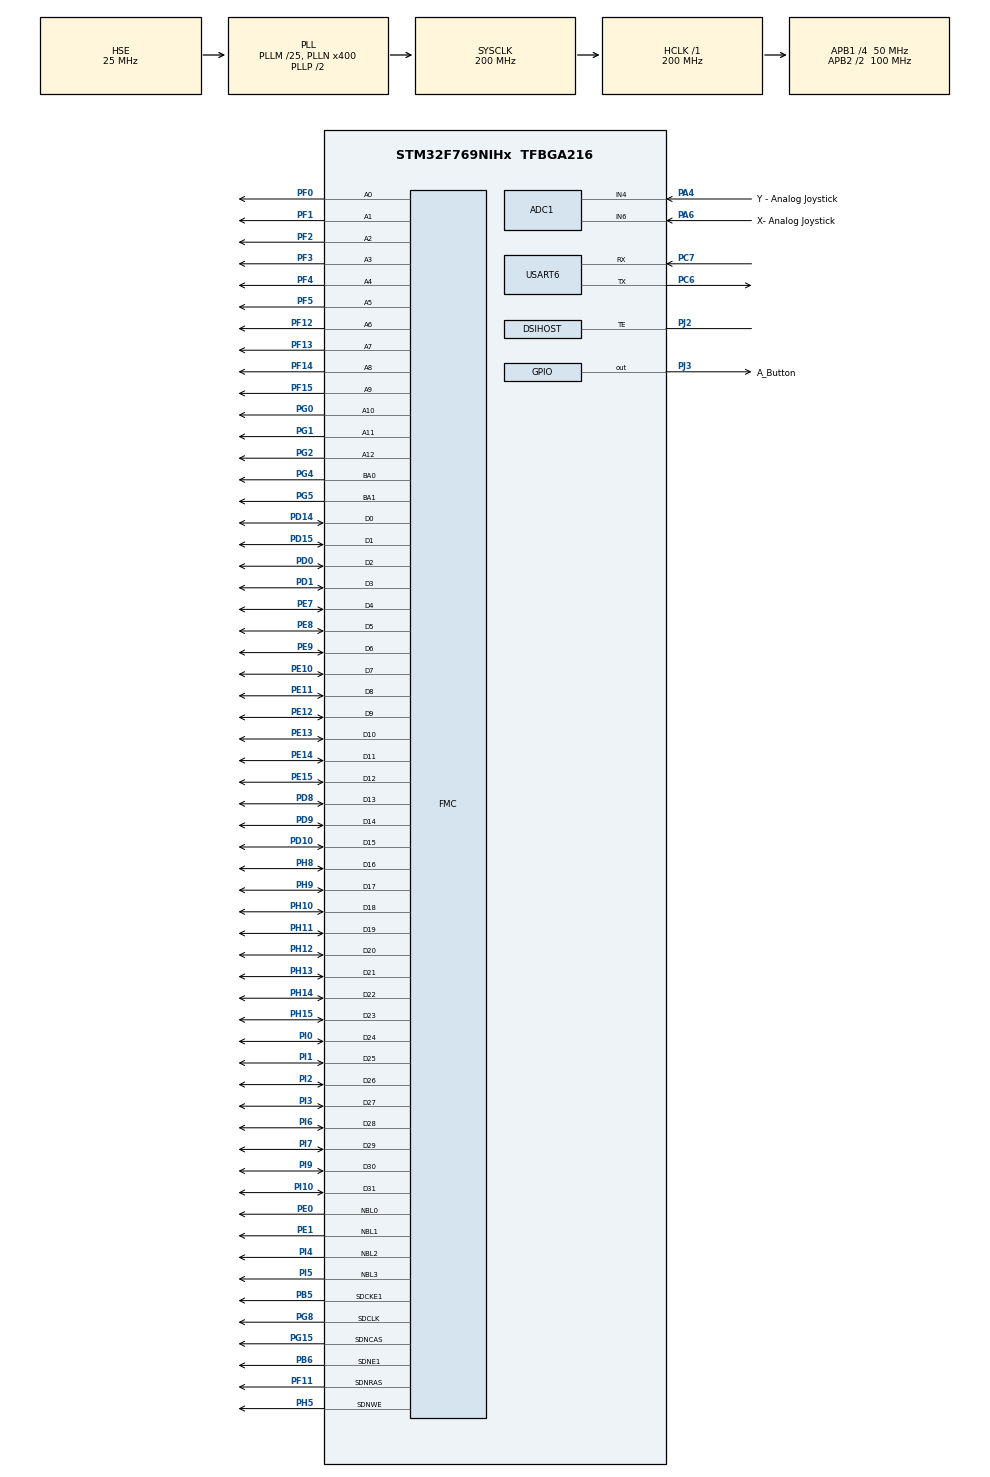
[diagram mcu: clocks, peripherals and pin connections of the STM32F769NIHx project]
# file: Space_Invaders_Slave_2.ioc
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ADC1.Channel-1\#ChannelRegularConversion=ADC_CHANNEL_4
ADC1.Channel-7\#ChannelInjectedConversion=ADC_CHANNEL_4
ADC1.ContinuousConvMode=ENABLE
ADC1.DMAContinuousRequests=ENABLE
ADC1.DiscontinuousConvMode=DISABLE
ADC1.EOCSelection=ADC_EOC_SINGLE_CONV
ADC1.InjNumberOfConversion=1
ADC1.InjectedConvMode=None
ADC1.InjectedOffset-7\#ChannelInjectedConversion=0
ADC1.InjectedRank-7\#ChannelInjectedConversion=1
ADC1.NbrOfConversion=1
ADC1.NbrOfConversionFlag=1
ADC1.Rank-1\#ChannelRegularConversion=1
ADC1.SamplingTime-1\#ChannelRegularConversion=ADC_SAMPLETIME_56CYCLES
ADC1.SamplingTime-7\#ChannelInjectedConversion=ADC_SAMPLETIME_56CYCLES
ADC1.master=1
CORTEX_M7.CPU_DCache=Enabled
CORTEX_M7.CPU_ICache=Enabled
DSIHOST_CKN.Mode=DSIHost_Adapted_TE
DSIHOST_CKN.Signal=DSIHOST_CKN
DSIHOST_CKP.Mode=DSIHost_Adapted_TE
DSIHOST_CKP.Signal=DSIHOST_CKP
DSIHOST_D0N.Mode=DSIHost_Adapted_TE
DSIHOST_D0N.Signal=DSIHOST_D0N
DSIHOST_D0P.Mode=DSIHost_Adapted_TE
DSIHOST_D0P.Signal=DSIHOST_D0P
DSIHOST_D1N.Mode=DSIHost_Adapted_TE
DSIHOST_D1N.Signal=DSIHOST_D1N
DSIHOST_D1P.Mode=DSIHost_Adapted_TE
DSIHOST_D1P.Signal=DSIHOST_D1P
Dma.ADC1.0.Direction=DMA_PERIPH_TO_MEMORY
Dma.ADC1.0.FIFOMode=DMA_FIFOMODE_DISABLE
Dma.ADC1.0.Instance=DMA2_Stream4
Dma.ADC1.0.MemDataAlignment=DMA_MDATAALIGN_WORD
Dma.ADC1.0.MemInc=DMA_MINC_ENABLE
Dma.ADC1.0.Mode=DMA_CIRCULAR
Dma.ADC1.0.PeriphDataAlignment=DMA_PDATAALIGN_WORD
Dma.ADC1.0.PeriphInc=DMA_PINC_DISABLE
Dma.ADC1.0.Priority=DMA_PRIORITY_LOW
Dma.Request0=ADC1
Dma.Request1=USART6_TX
Dma.Request2=USART6_RX
Dma.USART6_RX.2.Direction=DMA_PERIPH_TO_MEMORY
Dma.USART6_RX.2.FIFOMode=DMA_FIFOMODE_DISABLE
Dma.USART6_RX.2.Instance=DMA2_Stream1
Dma.USART6_RX.2.MemDataAlignment=DMA_MDATAALIGN_BYTE
Dma.USART6_RX.2.MemInc=DMA_MINC_ENABLE
Dma.USART6_RX.2.Mode=DMA_CIRCULAR
Dma.USART6_RX.2.PeriphDataAlignment=DMA_PDATAALIGN_BYTE
Dma.USART6_RX.2.PeriphInc=DMA_PINC_DISABLE
Dma.USART6_RX.2.Priority=DMA_PRIORITY_LOW
Dma.USART6_TX.1.Direction=DMA_MEMORY_TO_PERIPH
Dma.USART6_TX.1.FIFOMode=DMA_FIFOMODE_DISABLE
Dma.USART6_TX.1.Instance=DMA2_Stream6
Dma.USART6_TX.1.MemDataAlignment=DMA_MDATAALIGN_BYTE
Dma.USART6_TX.1.MemInc=DMA_MINC_ENABLE
Dma.USART6_TX.1.Mode=DMA_CIRCULAR
Dma.USART6_TX.1.PeriphDataAlignment=DMA_PDATAALIGN_BYTE
Dma.USART6_TX.1.PeriphInc=DMA_PINC_DISABLE
Dma.USART6_TX.1.Priority=DMA_PRIORITY_LOW
FREERTOS.INCLUDE_vTaskDelayUntil=1
FREERTOS.Tasks01=IdleTask,-3,128,StartIdleTask,Default,NULL,Dynamic,NULL,NULL
Mcu.Family=STM32F7
Mcu.Name=STM32F769NIHx
Mcu.Package=TFBGA216
NVIC.DMA2_Stream1_IRQn=true\:5\:0\:false\:false\:true\:true\:false\:true
NVIC.DMA2_Stream4_IRQn=true\:5\:0\:false\:false\:true\:true\:false\:true
NVIC.DMA2_Stream6_IRQn=true\:5\:0\:false\:false\:true\:true\:false\:true
NVIC.PriorityGroup=NVIC_PRIORITYGROUP_4
NVIC.TIM7_IRQn=true\:0\:0\:false\:false\:true\:false\:false\:true
NVIC.TimeBase=TIM7_IRQn
NVIC.TimeBaseIP=TIM7
NVIC.USART6_IRQn=true\:5\:0\:false\:false\:true\:true\:true\:true
PA4.GPIO_Label=Y - Analog Joystick 
PA4.Signal=ADCx_IN4
PA6.GPIO_Label=X- Analog Joystick 
PA6.Signal=ADCx_IN6
PB5.Mode=SdramChipSelect2_1
PB5.Signal=FMC_SDCKE1
PB6.Mode=SdramChipSelect2_1
PB6.Signal=FMC_SDNE1
PC6.GPIO_Speed=GPIO_SPEED_FREQ_VERY_HIGH
PC6.Mode=Asynchronous
PC6.Signal=USART6_TX
PC7.Mode=Asynchronous
PC7.Signal=USART6_RX
PD0.Signal=FMC_D2_DA2
PD1.Signal=FMC_D3_DA3
PD10.Signal=FMC_D15_DA15
PD14.Signal=FMC_D0_DA0
PD15.Signal=FMC_D1_DA1
PD8.Signal=FMC_D13_DA13
PD9.Signal=FMC_D14_DA14
PE0.Signal=FMC_NBL0
PE1.Signal=FMC_NBL1
PE10.Signal=FMC_D7_DA7
PE11.Signal=FMC_D8_DA8
PE12.Signal=FMC_D9_DA9
PE13.Signal=FMC_D10_DA10
PE14.Signal=FMC_D11_DA11
PE15.Signal=FMC_D12_DA12
PE7.Signal=FMC_D4_DA4
PE8.Signal=FMC_D5_DA5
PE9.Signal=FMC_D6_DA6
PF0.Signal=FMC_A0
PF1.Signal=FMC_A1
PF11.Signal=FMC_SDNRAS
PF12.Signal=FMC_A6
PF13.Signal=FMC_A7
PF14.Signal=FMC_A8
PF15.Signal=FMC_A9
PF2.Signal=FMC_A2
PF3.Signal=FMC_A3
PF4.Signal=FMC_A4
PF5.Signal=FMC_A5
PG0.Signal=FMC_A10
PG1.Signal=FMC_A11
PG15.Signal=FMC_SDNCAS
PG2.Signal=FMC_A12
PG4.Signal=FMC_A14_BA0
PG5.Signal=FMC_A15_BA1
PG8.Signal=FMC_SDCLK
PH0/OSC_IN.Mode=HSE-External-Oscillator
PH0/OSC_IN.Signal=RCC_OSC_IN
PH1/OSC_OUT.Mode=HSE-External-Oscillator
PH1/OSC_OUT.Signal=RCC_OSC_OUT
PH10.Signal=FMC_D18
PH11.Signal=FMC_D19
PH12.Signal=FMC_D20
PH13.Signal=FMC_D21
PH14.Signal=FMC_D22
PH15.Signal=FMC_D23
PH5.Signal=FMC_SDNWE
PH8.Signal=FMC_D16
PH9.Signal=FMC_D17
PI0.Signal=FMC_D24
PI1.Signal=FMC_D25
PI10.Signal=FMC_D31
PI2.Signal=FMC_D26
PI3.Signal=FMC_D27
PI4.Signal=FMC_NBL2
PI5.Signal=FMC_NBL3
PI6.Signal=FMC_D28
PI7.Signal=FMC_D29
PI9.Signal=FMC_D30
PJ2.Mode=DSIHost_Adapted_TE
PJ2.Signal=DSIHOST_TE
PJ3.GPIO_Label=A_Button
PJ3.Signal=GPIO_Output
ProjectManager.HeapSize=0x200
ProjectManager.StackSize=0x400
ProjectManager.TargetToolchain=STM32CubeIDE
RCC.AHBFreq_Value=200000000
RCC.APB1CLKDivider=RCC_HCLK_DIV4
RCC.APB1Freq_Value=50000000
RCC.APB1TimFreq_Value=100000000
RCC.APB2CLKDivider=RCC_HCLK_DIV2
RCC.APB2Freq_Value=100000000
RCC.APB2TimFreq_Value=200000000
RCC.CortexFreq_Value=200000000
RCC.HCLKFreq_Value=200000000
RCC.HSE_VALUE=25000000
RCC.HSI_VALUE=16000000
RCC.LSE_VALUE=32768
RCC.PLLI2SN=96
RCC.PLLM=25
RCC.PLLN=400
RCC.PLLR=7
RCC.PLLSourceVirtual=RCC_PLLSOURCE_HSE
RCC.SYSCLKFreq_VALUE=200000000
RCC.SYSCLKSource=RCC_SYSCLKSOURCE_PLLCLK
RCC.USBFreq_Value=200000000
RCC.VCOOutputFreq_Value=400000000
SH.ADCx_IN4.0=ADC1_IN4,IN4
SH.ADCx_IN6.0=ADC1_IN6,IN6
SH.FMC_A0.0=FMC_A0,13b-sda1
SH.FMC_A1.0=FMC_A1,13b-sda1
SH.FMC_A10.0=FMC_A10,13b-sda1
SH.FMC_A11.0=FMC_A11,13b-sda1
SH.FMC_A12.0=FMC_A12,13b-sda1
SH.FMC_A14_BA0.0=FMC_BA0,FourSdramBanks1
SH.FMC_A15_BA1.0=FMC_BA1,FourSdramBanks1
SH.FMC_A2.0=FMC_A2,13b-sda1
SH.FMC_A3.0=FMC_A3,13b-sda1
SH.FMC_A4.0=FMC_A4,13b-sda1
SH.FMC_A5.0=FMC_A5,13b-sda1
SH.FMC_A6.0=FMC_A6,13b-sda1
SH.FMC_A7.0=FMC_A7,13b-sda1
SH.FMC_A8.0=FMC_A8,13b-sda1
SH.FMC_A9.0=FMC_A9,13b-sda1
SH.FMC_D0_DA0.0=FMC_D0,sd-32b-d1
SH.FMC_D10_DA10.0=FMC_D10,sd-32b-d1
SH.FMC_D11_DA11.0=FMC_D11,sd-32b-d1
SH.FMC_D12_DA12.0=FMC_D12,sd-32b-d1
SH.FMC_D13_DA13.0=FMC_D13,sd-32b-d1
SH.FMC_D14_DA14.0=FMC_D14,sd-32b-d1
SH.FMC_D15_DA15.0=FMC_D15,sd-32b-d1
SH.FMC_D16.0=FMC_D16,sd-32b-d1
SH.FMC_D17.0=FMC_D17,sd-32b-d1
SH.FMC_D18.0=FMC_D18,sd-32b-d1
SH.FMC_D19.0=FMC_D19,sd-32b-d1
SH.FMC_D1_DA1.0=FMC_D1,sd-32b-d1
SH.FMC_D20.0=FMC_D20,sd-32b-d1
SH.FMC_D21.0=FMC_D21,sd-32b-d1
SH.FMC_D22.0=FMC_D22,sd-32b-d1
SH.FMC_D23.0=FMC_D23,sd-32b-d1
SH.FMC_D24.0=FMC_D24,sd-32b-d1
SH.FMC_D25.0=FMC_D25,sd-32b-d1
SH.FMC_D26.0=FMC_D26,sd-32b-d1
SH.FMC_D27.0=FMC_D27,sd-32b-d1
SH.FMC_D28.0=FMC_D28,sd-32b-d1
SH.FMC_D29.0=FMC_D29,sd-32b-d1
SH.FMC_D2_DA2.0=FMC_D2,sd-32b-d1
SH.FMC_D30.0=FMC_D30,sd-32b-d1
SH.FMC_D31.0=FMC_D31,sd-32b-d1
SH.FMC_D3_DA3.0=FMC_D3,sd-32b-d1
SH.FMC_D4_DA4.0=FMC_D4,sd-32b-d1
SH.FMC_D5_DA5.0=FMC_D5,sd-32b-d1
SH.FMC_D6_DA6.0=FMC_D6,sd-32b-d1
SH.FMC_D7_DA7.0=FMC_D7,sd-32b-d1
SH.FMC_D8_DA8.0=FMC_D8,sd-32b-d1
SH.FMC_D9_DA9.0=FMC_D9,sd-32b-d1
SH.FMC_NBL0.0=FMC_NBL0,Sd4ByteEnable1
SH.FMC_NBL1.0=FMC_NBL1,Sd4ByteEnable1
SH.FMC_NBL2.0=FMC_NBL2,Sd4ByteEnable1
SH.FMC_NBL3.0=FMC_NBL3,Sd4ByteEnable1
SH.FMC_SDCLK.0=FMC_SDCLK,13b-sda1
SH.FMC_SDNCAS.0=FMC_SDNCAS,13b-sda1
SH.FMC_SDNRAS.0=FMC_SDNRAS,13b-sda1
SH.FMC_SDNWE.0=FMC_SDNWE,13b-sda1
USART6.DMADisableonRxErrorParam=ADVFEATURE_DMA_DISABLEONRXERROR
USART6.OverrunDisableParam=ADVFEATURE_OVERRUN_DISABLE
USART6.VirtualMode-Asynchronous=VM_ASYNC
VP_DMA2D_VS_DMA2D.Mode=DMA2D_Activate
VP_FREERTOS_VS_CMSIS_V1.Mode=CMSIS_V1
VP_LTDC_DSIMode.Mode=RGB888
VP_SYS_VS_tim7.Mode=TIM7
board=STM32F769I-DISCO

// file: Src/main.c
/* USER CODE BEGIN Header */
/**
  ******************************************************************************
  * @file           : main.c
  * @brief          : Main program body
  ******************************************************************************
  * @attention
  *
  * <h2><center>&copy; Copyright (c) 2019 STMicroelectronics.
  * All rights reserved.</center></h2>
  *
  * This software component is licensed by ST under BSD 3-Clause license,
  * the "License"; You may not use this file except in compliance with the
  * License. You may obtain a copy of the License at:
  *                        opensource.org/licenses/BSD-3-Clause
  *
  ******************************************************************************
  */
/* USER CODE END Header */

#include "main.h"
#include "cmsis_os.h"

/* USER CODE BEGIN Includes */
#include "stm32f769i_discovery.h"
#include "stm32f769i_discovery_lcd.h"
#include <stdio.h>
#include <stdbool.h>
#include "bmp_lib.h"
/* USER CODE END Includes */

/* USER CODE BEGIN PTD */

typedef enum id {
	X_AXIS,
	A_BUTTON
}Id;

typedef struct joystick {
	Id id;
	uint8_t val;

}Joystick;

typedef enum status {
	OFF,
	DESTROYED,
	SHOT,
	LIVE
}Status;

typedef struct invader {
	Status status;
	uint16_t x;
	uint16_t y;
}Invader;

/* USER CODE END PTD */

ADC_HandleTypeDef hadc1;
DMA_HandleTypeDef hdma_adc1;

DMA2D_HandleTypeDef hdma2d;

DSI_HandleTypeDef hdsi;

LTDC_HandleTypeDef hltdc;

UART_HandleTypeDef huart6;
DMA_HandleTypeDef hdma_usart6_tx;
DMA_HandleTypeDef hdma_usart6_rx;

SDRAM_HandleTypeDef hsdram1;

osThreadId IdleTaskHandle;
/* USER CODE BEGIN PV */

uint8_t data2send[4];
uint8_t data2receive[200];
bool flag_half_tx_DMA = false;
bool flag_tx_DMA = false;
bool flag_half_rx_DMA = false;
bool flag_rx_DMA = false;
volatile uint8_t toggle = 0;
uint16_t x_master = 300;
uint16_t y_master = 460;
uint16_t x_laser;
uint16_t y_laser;

const uint8_t x_unit_px = 6;
const uint8_t y_unit_px = 20;
Invader invader[11][5];
bool flag_endgame = true;

char x[100];
char a[100];
char y[100];

/* USER CODE END PV */

void SystemClock_Config(void);
static void MX_GPIO_Init(void);
static void MX_DMA_Init(void);
static void MX_DMA2D_Init(void);
static void MX_FMC_Init(void);
static void MX_LTDC_Init(void);
static void MX_DSIHOST_DSI_Init(void);
static void MX_ADC1_Init(void);
static void MX_USART6_UART_Init(void);
void StartIdleTask(void const * argument);

/* USER CODE BEGIN PFP */
static void LCD_Config(void);
void get_x_joystick_ADC  (void* parameters);
void get_button_joystick_PIN (void * parameters);
void send_master_UART(void * parameters);
void receive_master_UART(void * parameters);

/* USER CODE END PFP */

/* USER CODE BEGIN 0 */
xQueueHandle xQueue_joy_master;
xQueueHandle xQueue_joy_slave;
xQueueHandle xQueue_joy_slave_1;
xQueueHandle xQueue_joy_slave_2;
//xQueueHandle xQueue_a_joy_slave;

/* USER CODE END 0 */

int main(void)
{

  /* Enable I-Cache---------------------------------------------------------*/
  SCB_EnableICache();

  /* Enable D-Cache---------------------------------------------------------*/
  SCB_EnableDCache();

  /* MCU Configuration--------------------------------------------------------*/

  /* Reset of all peripherals, Initializes the Flash interface and the Systick. */
  HAL_Init();

  /* Configure the system clock */
  SystemClock_Config();

  /* Initialize all configured peripherals */
  MX_GPIO_Init();
  MX_DMA_Init();
  MX_DMA2D_Init();
  MX_FMC_Init();
  MX_LTDC_Init();
  MX_DSIHOST_DSI_Init();
  MX_ADC1_Init();
  MX_USART6_UART_Init();
  /* USER CODE BEGIN 2 */

  BSP_LED_Init(LED1);
  BSP_LED_Init(LED2);
//  BSP_PB_Init(BUTTON_USER, BUTTON_MODE_GPIO);

  LCD_Config();

  /* USER CODE END 2 */

  /* USER CODE BEGIN RTOS_QUEUES */
  /* add queues, ... */
  xQueue_joy_slave = xQueueCreate(10, sizeof(Joystick));
  xQueue_joy_slave_1 = xQueueCreate(10, sizeof(Joystick));
  xQueue_joy_slave_2  = xQueueCreate(10, sizeof(Joystick));
  /* USER CODE END RTOS_QUEUES */

  /* Create the thread(s) */
  /* definition and creation of IdleTask */
  osThreadDef(IdleTask, StartIdleTask, osPriorityIdle, 0, 128);
  IdleTaskHandle = osThreadCreate(osThread(IdleTask), NULL);

  /* USER CODE BEGIN RTOS_THREADS */
  /* add threads, ... */
  //if (xQueue_joy_slave != NULL) {
	  xTaskCreate(get_x_joystick_ADC, "Get X-joystick ADC", 400, NULL, tskIDLE_PRIORITY + 2, NULL);
	  xTaskCreate(get_button_joystick_PIN, "Get A-joystick", 400, NULL, tskIDLE_PRIORITY + 2, NULL);
	  xTaskCreate(send_master_UART, "UART send X-joystick", 400, NULL, tskIDLE_PRIORITY + 2, NULL);
	  xTaskCreate(receive_master_UART, "UART send X-joystick", 400, NULL, tskIDLE_PRIORITY + 2, NULL);

//	  xTaskCreate(cannon_slave_rcv, "cannon_slave_rcv", 400, NULL, tskIDLE_PRIORITY + 2, NULL);
//	  xTaskCreate(invaders_sdr, "cannon_slave_rcv", 1000, NULL, tskIDLE_PRIORITY + 2, NULL);

  /* USER CODE END RTOS_THREADS */

  /* Start scheduler */
  osKernelStart();

  /* We should never get here as control is now taken by the scheduler */

  /* Infinite loop */
  /* USER CODE BEGIN WHILE */
  //}

  while (1)
  {

	  //send_master();
	  //receive_master();

    /* USER CODE END WHILE */

  }
}

void SystemClock_Config(void)
{
  RCC_OscInitTypeDef RCC_OscInitStruct = {0};
  RCC_ClkInitTypeDef RCC_ClkInitStruct = {0};
  RCC_PeriphCLKInitTypeDef PeriphClkInitStruct = {0};

  /** Configure the main internal regulator output voltage
  */
  __HAL_RCC_PWR_CLK_ENABLE();
  __HAL_PWR_VOLTAGESCALING_CONFIG(PWR_REGULATOR_VOLTAGE_SCALE1);
  /** Initializes the CPU, AHB and APB busses clocks
  */
  RCC_OscInitStruct.OscillatorType = RCC_OSCILLATORTYPE_HSE;
  RCC_OscInitStruct.HSEState = RCC_HSE_ON;
  RCC_OscInitStruct.PLL.PLLState = RCC_PLL_ON;
  RCC_OscInitStruct.PLL.PLLSource = RCC_PLLSOURCE_HSE;
  RCC_OscInitStruct.PLL.PLLM = 25;
  RCC_OscInitStruct.PLL.PLLN = 400;
  RCC_OscInitStruct.PLL.PLLP = RCC_PLLP_DIV2;
  RCC_OscInitStruct.PLL.PLLQ = 2;
  if (HAL_RCC_OscConfig(&RCC_OscInitStruct) != HAL_OK)
  {
    Error_Handler();
  }
  /** Activate the Over-Drive mode
  */
  if (HAL_PWREx_EnableOverDrive() != HAL_OK)
  {
    Error_Handler();
  }
  /** Initializes the CPU, AHB and APB busses clocks
  */
  RCC_ClkInitStruct.ClockType = RCC_CLOCKTYPE_HCLK|RCC_CLOCKTYPE_SYSCLK
                              |RCC_CLOCKTYPE_PCLK1|RCC_CLOCKTYPE_PCLK2;
  RCC_ClkInitStruct.SYSCLKSource = RCC_SYSCLKSOURCE_PLLCLK;
  RCC_ClkInitStruct.AHBCLKDivider = RCC_SYSCLK_DIV1;
  RCC_ClkInitStruct.APB1CLKDivider = RCC_HCLK_DIV4;
  RCC_ClkInitStruct.APB2CLKDivider = RCC_HCLK_DIV2;

  if (HAL_RCC_ClockConfig(&RCC_ClkInitStruct, FLASH_LATENCY_6) != HAL_OK)
  {
    Error_Handler();
  }
  PeriphClkInitStruct.PeriphClockSelection = RCC_PERIPHCLK_LTDC|RCC_PERIPHCLK_USART6;
  PeriphClkInitStruct.PLLSAI.PLLSAIN = 192;
  PeriphClkInitStruct.PLLSAI.PLLSAIR = 2;
  PeriphClkInitStruct.PLLSAI.PLLSAIQ = 2;
  PeriphClkInitStruct.PLLSAI.PLLSAIP = RCC_PLLSAIP_DIV2;
  PeriphClkInitStruct.PLLSAIDivQ = 1;
  PeriphClkInitStruct.PLLSAIDivR = RCC_PLLSAIDIVR_2;
  PeriphClkInitStruct.Usart6ClockSelection = RCC_USART6CLKSOURCE_PCLK2;
  if (HAL_RCCEx_PeriphCLKConfig(&PeriphClkInitStruct) != HAL_OK)
  {
    Error_Handler();
  }
}

static void MX_ADC1_Init(void)
{

  ADC_ChannelConfTypeDef sConfig = {0};
  ADC_InjectionConfTypeDef sConfigInjected = {0};

  /** Configure the global features of the ADC (Clock, Resolution, Data Alignment and number of conversion)
  */
  hadc1.Instance = ADC1;
  hadc1.Init.ClockPrescaler = ADC_CLOCK_SYNC_PCLK_DIV4;
  hadc1.Init.Resolution = ADC_RESOLUTION_12B;
  hadc1.Init.ScanConvMode = DISABLE;
  hadc1.Init.ContinuousConvMode = ENABLE;
  hadc1.Init.DiscontinuousConvMode = DISABLE;
  hadc1.Init.ExternalTrigConvEdge = ADC_EXTERNALTRIGCONVEDGE_NONE;
  hadc1.Init.ExternalTrigConv = ADC_SOFTWARE_START;
  hadc1.Init.DataAlign = ADC_DATAALIGN_RIGHT;
  hadc1.Init.NbrOfConversion = 1;
  hadc1.Init.DMAContinuousRequests = ENABLE;
  hadc1.Init.EOCSelection = ADC_EOC_SINGLE_CONV;
  if (HAL_ADC_Init(&hadc1) != HAL_OK)
  {
    Error_Handler();
  }
  /** Configure for the selected ADC regular channel its corresponding rank in the sequencer and its sample time.
  */
  sConfig.Channel = ADC_CHANNEL_4;
  sConfig.Rank = ADC_REGULAR_RANK_1;
  sConfig.SamplingTime = ADC_SAMPLETIME_56CYCLES;
  if (HAL_ADC_ConfigChannel(&hadc1, &sConfig) != HAL_OK)
  {
    Error_Handler();
  }
  /** Configures for the selected ADC injected channel its corresponding rank in the sequencer and its sample time
  */
  sConfigInjected.InjectedChannel = ADC_CHANNEL_4;
  sConfigInjected.InjectedRank = ADC_INJECTED_RANK_1;
  sConfigInjected.InjectedNbrOfConversion = 1;
  sConfigInjected.InjectedSamplingTime = ADC_SAMPLETIME_56CYCLES;
  sConfigInjected.ExternalTrigInjecConvEdge = ADC_EXTERNALTRIGINJECCONVEDGE_NONE;
  sConfigInjected.ExternalTrigInjecConv = ADC_INJECTED_SOFTWARE_START;
  sConfigInjected.AutoInjectedConv = DISABLE;
  sConfigInjected.InjectedDiscontinuousConvMode = DISABLE;
  sConfigInjected.InjectedOffset = 0;
  if (HAL_ADCEx_InjectedConfigChannel(&hadc1, &sConfigInjected) != HAL_OK)
  {
    Error_Handler();
  }

}

static void MX_DMA2D_Init(void)
{

  hdma2d.Instance = DMA2D;
  hdma2d.Init.Mode = DMA2D_M2M;
  hdma2d.Init.ColorMode = DMA2D_OUTPUT_ARGB8888;
  hdma2d.Init.OutputOffset = 0;
  hdma2d.LayerCfg[1].InputOffset = 0;
  hdma2d.LayerCfg[1].InputColorMode = DMA2D_INPUT_ARGB8888;
  hdma2d.LayerCfg[1].AlphaMode = DMA2D_NO_MODIF_ALPHA;
  hdma2d.LayerCfg[1].InputAlpha = 0;
  hdma2d.LayerCfg[1].AlphaInverted = DMA2D_REGULAR_ALPHA;
  hdma2d.LayerCfg[1].RedBlueSwap = DMA2D_RB_REGULAR;
  if (HAL_DMA2D_Init(&hdma2d) != HAL_OK)
  {
    Error_Handler();
  }
  if (HAL_DMA2D_ConfigLayer(&hdma2d, 1) != HAL_OK)
  {
    Error_Handler();
  }

}

static void MX_DSIHOST_DSI_Init(void)
{

  DSI_PLLInitTypeDef PLLInit = {0};
  DSI_HOST_TimeoutTypeDef HostTimeouts = {0};
  DSI_PHY_TimerTypeDef PhyTimings = {0};
  DSI_LPCmdTypeDef LPCmd = {0};
  DSI_CmdCfgTypeDef CmdCfg = {0};

  hdsi.Instance = DSI;
  hdsi.Init.AutomaticClockLaneControl = DSI_AUTO_CLK_LANE_CTRL_DISABLE;
  hdsi.Init.TXEscapeCkdiv = 4;
  hdsi.Init.NumberOfLanes = DSI_ONE_DATA_LANE;
  PLLInit.PLLNDIV = 20;
  PLLInit.PLLIDF = DSI_PLL_IN_DIV1;
  PLLInit.PLLODF = DSI_PLL_OUT_DIV1;
  if (HAL_DSI_Init(&hdsi, &PLLInit) != HAL_OK)
  {
    Error_Handler();
  }
  HostTimeouts.TimeoutCkdiv = 1;
  HostTimeouts.HighSpeedTransmissionTimeout = 0;
  HostTimeouts.LowPowerReceptionTimeout = 0;
  HostTimeouts.HighSpeedReadTimeout = 0;
  HostTimeouts.LowPowerReadTimeout = 0;
  HostTimeouts.HighSpeedWriteTimeout = 0;
  HostTimeouts.HighSpeedWritePrespMode = DSI_HS_PM_DISABLE;
  HostTimeouts.LowPowerWriteTimeout = 0;
  HostTimeouts.BTATimeout = 0;
  if (HAL_DSI_ConfigHostTimeouts(&hdsi, &HostTimeouts) != HAL_OK)
  {
    Error_Handler();
  }
  PhyTimings.ClockLaneHS2LPTime = 28;
  PhyTimings.ClockLaneLP2HSTime = 33;
  PhyTimings.DataLaneHS2LPTime = 15;
  PhyTimings.DataLaneLP2HSTime = 25;
  PhyTimings.DataLaneMaxReadTime = 0;
  PhyTimings.StopWaitTime = 0;
  if (HAL_DSI_ConfigPhyTimer(&hdsi, &PhyTimings) != HAL_OK)
  {
    Error_Handler();
  }
  if (HAL_DSI_ConfigFlowControl(&hdsi, DSI_FLOW_CONTROL_BTA) != HAL_OK)
  {
    Error_Handler();
  }
  if (HAL_DSI_SetLowPowerRXFilter(&hdsi, 10000) != HAL_OK)
  {
    Error_Handler();
  }
  if (HAL_DSI_ConfigErrorMonitor(&hdsi, HAL_DSI_ERROR_NONE) != HAL_OK)
  {
    Error_Handler();
  }
  LPCmd.LPGenShortWriteNoP = DSI_LP_GSW0P_DISABLE;
  LPCmd.LPGenShortWriteOneP = DSI_LP_GSW1P_DISABLE;
  LPCmd.LPGenShortWriteTwoP = DSI_LP_GSW2P_DISABLE;
  LPCmd.LPGenShortReadNoP = DSI_LP_GSR0P_DISABLE;
  LPCmd.LPGenShortReadOneP = DSI_LP_GSR1P_DISABLE;
  LPCmd.LPGenShortReadTwoP = DSI_LP_GSR2P_DISABLE;
  LPCmd.LPGenLongWrite = DSI_LP_GLW_DISABLE;
  LPCmd.LPDcsShortWriteNoP = DSI_LP_DSW0P_DISABLE;
  LPCmd.LPDcsShortWriteOneP = DSI_LP_DSW1P_DISABLE;
  LPCmd.LPDcsShortReadNoP = DSI_LP_DSR0P_DISABLE;
  LPCmd.LPDcsLongWrite = DSI_LP_DLW_DISABLE;
  LPCmd.LPMaxReadPacket = DSI_LP_MRDP_DISABLE;
  LPCmd.AcknowledgeRequest = DSI_ACKNOWLEDGE_DISABLE;
  if (HAL_DSI_ConfigCommand(&hdsi, &LPCmd) != HAL_OK)
  {
    Error_Handler();
  }
  CmdCfg.VirtualChannelID = 0;
  CmdCfg.ColorCoding = DSI_RGB888;
  CmdCfg.CommandSize = 640;
  CmdCfg.TearingEffectSource = DSI_TE_EXTERNAL;
  CmdCfg.TearingEffectPolarity = DSI_TE_RISING_EDGE;
  CmdCfg.HSPolarity = DSI_HSYNC_ACTIVE_LOW;
  CmdCfg.VSPolarity = DSI_VSYNC_ACTIVE_LOW;
  CmdCfg.DEPolarity = DSI_DATA_ENABLE_ACTIVE_HIGH;
  CmdCfg.VSyncPol = DSI_VSYNC_FALLING;
  CmdCfg.AutomaticRefresh = DSI_AR_ENABLE;
  CmdCfg.TEAcknowledgeRequest = DSI_TE_ACKNOWLEDGE_DISABLE;
  if (HAL_DSI_ConfigAdaptedCommandMode(&hdsi, &CmdCfg) != HAL_OK)
  {
    Error_Handler();
  }
  if (HAL_DSI_SetGenericVCID(&hdsi, 0) != HAL_OK)
  {
    Error_Handler();
  }

}

static void MX_LTDC_Init(void)
{

  LTDC_LayerCfgTypeDef pLayerCfg = {0};
  LTDC_LayerCfgTypeDef pLayerCfg1 = {0};

  hltdc.Instance = LTDC;
  hltdc.Init.HSPolarity = LTDC_HSPOLARITY_AL;
  hltdc.Init.VSPolarity = LTDC_VSPOLARITY_AL;
  hltdc.Init.DEPolarity = LTDC_DEPOLARITY_AL;
  hltdc.Init.PCPolarity = LTDC_PCPOLARITY_IPC;
  hltdc.Init.HorizontalSync = 7;
  hltdc.Init.VerticalSync = 3;
  hltdc.Init.AccumulatedHBP = 14;
  hltdc.Init.AccumulatedVBP = 5;
  hltdc.Init.AccumulatedActiveW = 654;
  hltdc.Init.AccumulatedActiveH = 485;
  hltdc.Init.TotalWidth = 660;
  hltdc.Init.TotalHeigh = 487;
  hltdc.Init.Backcolor.Blue = 0;
  hltdc.Init.Backcolor.Green = 0;
  hltdc.Init.Backcolor.Red = 0;
  if (HAL_LTDC_Init(&hltdc) != HAL_OK)
  {
    Error_Handler();
  }
  pLayerCfg.WindowX0 = 0;
  pLayerCfg.WindowX1 = 0;
  pLayerCfg.WindowY0 = 0;
  pLayerCfg.WindowY1 = 0;
  pLayerCfg.PixelFormat = LTDC_PIXEL_FORMAT_ARGB8888;
  pLayerCfg.Alpha = 0;
  pLayerCfg.Alpha0 = 0;
  pLayerCfg.BlendingFactor1 = LTDC_BLENDING_FACTOR1_CA;
  pLayerCfg.BlendingFactor2 = LTDC_BLENDING_FACTOR2_CA;
  pLayerCfg.FBStartAdress = 0;
  pLayerCfg.ImageWidth = 0;
  pLayerCfg.ImageHeight = 0;
  pLayerCfg.Backcolor.Blue = 0;
  pLayerCfg.Backcolor.Green = 0;
  pLayerCfg.Backcolor.Red = 0;
  if (HAL_LTDC_ConfigLayer(&hltdc, &pLayerCfg, 0) != HAL_OK)
  {
    Error_Handler();
  }
  pLayerCfg1.WindowX0 = 0;
  pLayerCfg1.WindowX1 = 0;
  pLayerCfg1.WindowY0 = 0;
  pLayerCfg1.WindowY1 = 0;
  pLayerCfg1.PixelFormat = LTDC_PIXEL_FORMAT_ARGB8888;
  pLayerCfg1.Alpha = 0;
  pLayerCfg1.Alpha0 = 0;
  pLayerCfg1.BlendingFactor1 = LTDC_BLENDING_FACTOR1_CA;
  pLayerCfg1.BlendingFactor2 = LTDC_BLENDING_FACTOR2_CA;
  pLayerCfg1.FBStartAdress = 0;
  pLayerCfg1.ImageWidth = 0;
  pLayerCfg1.ImageHeight = 0;
  pLayerCfg1.Backcolor.Blue = 0;
  pLayerCfg1.Backcolor.Green = 0;
  pLayerCfg1.Backcolor.Red = 0;
  if (HAL_LTDC_ConfigLayer(&hltdc, &pLayerCfg1, 1) != HAL_OK)
  {
    Error_Handler();
  }

}

static void MX_USART6_UART_Init(void)
{

  huart6.Instance = USART6;
  huart6.Init.BaudRate = 115200;
  huart6.Init.WordLength = UART_WORDLENGTH_8B;
  huart6.Init.StopBits = UART_STOPBITS_1;
  huart6.Init.Parity = UART_PARITY_NONE;
  huart6.Init.Mode = UART_MODE_TX_RX;
  huart6.Init.HwFlowCtl = UART_HWCONTROL_NONE;
  huart6.Init.OverSampling = UART_OVERSAMPLING_16;
  huart6.Init.OneBitSampling = UART_ONE_BIT_SAMPLE_DISABLE;
  huart6.AdvancedInit.AdvFeatureInit = UART_ADVFEATURE_RXOVERRUNDISABLE_INIT|UART_ADVFEATURE_DMADISABLEONERROR_INIT;
  huart6.AdvancedInit.OverrunDisable = UART_ADVFEATURE_OVERRUN_DISABLE;
  huart6.AdvancedInit.DMADisableonRxError = UART_ADVFEATURE_DMA_DISABLEONRXERROR;
  if (HAL_UART_Init(&huart6) != HAL_OK)
  {
    Error_Handler();
  }

}

static void MX_DMA_Init(void)
{
  /* DMA controller clock enable */
  __HAL_RCC_DMA2_CLK_ENABLE();

  /* DMA interrupt init */
  /* DMA2_Stream1_IRQn interrupt configuration */
  HAL_NVIC_SetPriority(DMA2_Stream1_IRQn, 5, 0);
  HAL_NVIC_EnableIRQ(DMA2_Stream1_IRQn);
  /* DMA2_Stream4_IRQn interrupt configuration */
  HAL_NVIC_SetPriority(DMA2_Stream4_IRQn, 5, 0);
  HAL_NVIC_EnableIRQ(DMA2_Stream4_IRQn);
  /* DMA2_Stream6_IRQn interrupt configuration */
  HAL_NVIC_SetPriority(DMA2_Stream6_IRQn, 5, 0);
  HAL_NVIC_EnableIRQ(DMA2_Stream6_IRQn);

}
/* FMC initialization function */
static void MX_FMC_Init(void)
{

  FMC_SDRAM_TimingTypeDef SdramTiming = {0};

  /** Perform the SDRAM1 memory initialization sequence
  */
  hsdram1.Instance = FMC_SDRAM_DEVICE;
  /* hsdram1.Init */
  hsdram1.Init.SDBank = FMC_SDRAM_BANK2;
  hsdram1.Init.ColumnBitsNumber = FMC_SDRAM_COLUMN_BITS_NUM_8;
  hsdram1.Init.RowBitsNumber = FMC_SDRAM_ROW_BITS_NUM_13;
  hsdram1.Init.MemoryDataWidth = FMC_SDRAM_MEM_BUS_WIDTH_32;
  hsdram1.Init.InternalBankNumber = FMC_SDRAM_INTERN_BANKS_NUM_4;
  hsdram1.Init.CASLatency = FMC_SDRAM_CAS_LATENCY_1;
  hsdram1.Init.WriteProtection = FMC_SDRAM_WRITE_PROTECTION_DISABLE;
  hsdram1.Init.SDClockPeriod = FMC_SDRAM_CLOCK_DISABLE;
  hsdram1.Init.ReadBurst = FMC_SDRAM_RBURST_DISABLE;
  hsdram1.Init.ReadPipeDelay = FMC_SDRAM_RPIPE_DELAY_0;
  /* SdramTiming */
  SdramTiming.LoadToActiveDelay = 16;
  SdramTiming.ExitSelfRefreshDelay = 16;
  SdramTiming.SelfRefreshTime = 16;
  SdramTiming.RowCycleDelay = 16;
  SdramTiming.WriteRecoveryTime = 16;
  SdramTiming.RPDelay = 16;
  SdramTiming.RCDDelay = 16;

  if (HAL_SDRAM_Init(&hsdram1, &SdramTiming) != HAL_OK)
  {
    Error_Handler( );
  }

}

static void MX_GPIO_Init(void)
{
  GPIO_InitTypeDef GPIO_InitStruct = {0};

  /* GPIO Ports Clock Enable */
  __HAL_RCC_GPIOE_CLK_ENABLE();
  __HAL_RCC_GPIOB_CLK_ENABLE();
  __HAL_RCC_GPIOG_CLK_ENABLE();
  __HAL_RCC_GPIOD_CLK_ENABLE();
  __HAL_RCC_GPIOI_CLK_ENABLE();
  __HAL_RCC_GPIOF_CLK_ENABLE();
  __HAL_RCC_GPIOH_CLK_ENABLE();
  __HAL_RCC_GPIOC_CLK_ENABLE();
  __HAL_RCC_GPIOA_CLK_ENABLE();
  __HAL_RCC_GPIOJ_CLK_ENABLE();

  /*Configure GPIO pin Output Level */
  HAL_GPIO_WritePin(A_Button_GPIO_Port, A_Button_Pin, GPIO_PIN_RESET);

  /*Configure GPIO pin : A_Button_Pin */
  GPIO_InitStruct.Pin = A_Button_Pin;
  GPIO_InitStruct.Mode = GPIO_MODE_OUTPUT_PP;
  GPIO_InitStruct.Pull = GPIO_NOPULL;
  GPIO_InitStruct.Speed = GPIO_SPEED_FREQ_LOW;
  HAL_GPIO_Init(A_Button_GPIO_Port, &GPIO_InitStruct);

}

/* USER CODE BEGIN 4 */
static void LCD_Config(void) {
	uint32_t  lcd_status = LCD_OK;

	lcd_status = BSP_LCD_Init();
	while(lcd_status != LCD_OK);

	BSP_LCD_LayerDefaultInit(0, LCD_FB_START_ADDRESS);

	BSP_LCD_Clear(LCD_COLOR_BLACK);
	BSP_LCD_SetTextColor(LCD_COLOR_WHITE);
}

void get_x_joystick_ADC (void* parameters) {
	Joystick joy_input;
	joy_input.id = X_AXIS;
	uint32_t ADC_buffer [1];
	HAL_ADC_Start_DMA(&hadc1, (uint32_t*) ADC_buffer, 1);
	portTickType xNextWakeTime;
	const portTickType xTicksToWait = 0 / portTICK_RATE_MS;
	const portTickType xCycleFrequency = 20 / portTICK_RATE_MS;
	xNextWakeTime = xTaskGetTickCount ();

	for (;;){
		joy_input.val = (ADC_buffer[0] >> 6);

		xQueueSendToBack(xQueue_joy_slave, &joy_input, xTicksToWait);
		vTaskDelayUntil(&xNextWakeTime, xCycleFrequency);
	}
}

void get_button_joystick_PIN (void* parameters) {
	Joystick joy_input;
	joy_input.id = A_BUTTON;
	GPIO_PinState status_A_Button;
	portTickType xNextWakeTime;
	const portTickType xTicksToWait = 0 / portTICK_RATE_MS;
	const portTickType xCycleFrequency = 20 / portTICK_RATE_MS;
	xNextWakeTime = xTaskGetTickCount ();

	for (;;){
		HAL_GPIO_WritePin(A_Button_GPIO_Port, A_Button_Pin, GPIO_PIN_SET);
		status_A_Button=HAL_GPIO_ReadPin(A_Button_GPIO_Port, A_Button_Pin);
		HAL_GPIO_WritePin(A_Button_GPIO_Port, A_Button_Pin, GPIO_PIN_RESET);

		if (status_A_Button == 0) { 	//  ON
			joy_input.val = 1;

		}
		if (status_A_Button == 1) { 	// OFF
			joy_input.val = 0;

		}
		xQueueSendToBack(xQueue_joy_slave_1, &joy_input, xTicksToWait);
		vTaskDelayUntil(&xNextWakeTime, xCycleFrequency);
	}
}

void send_master_UART(void * parameters) { /* Enviar Joystick Slave para ARM Master */

	Joystick joy_input;
	Joystick _joy_input;
	for (int i = 0; i < 4; i++) {
		data2send[i] = ' ';
	}
	HAL_UART_Transmit_DMA(&huart6, data2send, 4);
	for (;;){
		xQueueReceive(xQueue_joy_slave, &joy_input, portMAX_DELAY);
		xQueueReceive(xQueue_joy_slave_1, &_joy_input, portMAX_DELAY);
				if (flag_half_tx_DMA == true) {
					flag_half_tx_DMA = false;
					if (joy_input.id == X_AXIS) {
						data2send[0] = 'x';
						data2send[1] = joy_input.val;
					}
				}
				if (flag_tx_DMA == true) {
					flag_tx_DMA = false;

					if (_joy_input.id == A_BUTTON) {
						data2send[2] = 'a';
						data2send[3] = _joy_input.val;
					}
				}

//
//		if (flag_tx_DMA == true) {
//			flag_tx_DMA = false;
//			if (joy_input.id == X_AXIS) {
//				data2send[0] = 'x';
//				data2send[1] = joy_input.val;
//				sprintf(a, "X_AXIS = %d", data2send[1]);
//				BSP_LCD_SetTextColor(LCD_COLOR_GREEN);
//				BSP_LCD_DisplayStringAt(0, 300, (int*)a, LEFT_MODE);
//			}
//
//			if (_joy_input.id == A_BUTTON) {
//				data2send[2] = 'a';
//				data2send[3] = _joy_input.val;
//				sprintf(a, "A_BUTTON = %d", data2send[3]);
//				BSP_LCD_SetTextColor(LCD_COLOR_GREEN);
//				BSP_LCD_DisplayStringAt(0, 200, (int*)a, LEFT_MODE);
//			}
//		}
	}
}

void receive_master_UART(void * parameters) { /* Receber X de Joystick de ARM Slave*/
	for (int i = 0; i < 200; i++) { // 2nd and 3rd row of invaders
			data2receive[i] = '0';
		}
	portTickType xNextWakeTime;
	const portTickType xCycleFrequency = 20 / portTICK_RATE_MS;
	xNextWakeTime = xTaskGetTickCount ();

	HAL_UART_Receive_DMA(&huart6, data2receive, 200);

	for (;;){
		if (flag_half_rx_DMA == true) {
			flag_half_rx_DMA = false;
			for (int i = 0; i < 100; i++) {
				if (data2receive[i] == 'x') {
					x_master = data2receive[i+1];

				}
				if (data2receive[i] == 'y') {
					y_master = data2receive[i+1];

				}
			}
		}
		if (flag_rx_DMA == true) {
			flag_rx_DMA = false;
			HAL_UART_Receive_DMA(&huart6, data2receive, 200);
			for (int i = 100; i < 200; i++) { // 2nd and 3rd row of invaders
				if (data2receive[i] == 'x') {
					x_laser = data2receive[i+1];
				}
				if (data2receive[i] == 'y') {
					y_laser = data2receive[i+1];
				}
			}
		}
		vTaskDelayUntil(&xNextWakeTime, xCycleFrequency);
	}
}

void DMA1_Stream6_IRQHandler(void)
{
  HAL_DMA_IRQHandler(&hdma_usart6_tx);
}

void HAL_UART_TxCpltCallback(UART_HandleTypeDef *huart)
{
	if (huart == &huart6) {
		flag_tx_DMA = true;
	}
}

void HAL_UART_TxHalfCpltCallback(UART_HandleTypeDef *huart)
{
	if (huart == &huart6) {
		flag_half_tx_DMA = true;
	}
}

//void HAL_UART_RxCpltCallback(UART_HandleTypeDef *huart)
//{
//	if (huart == &huart6) {
//		flag_rx_DMA = true;
//	}
//}
//
//void HAL_UART_RxHalfCpltCallback(UART_HandleTypeDef *huart)
//{
//	if (huart == &huart6) {
//		flag_half_rx_DMA = true;
//	}
//}

/* USER CODE END 4 */

void StartIdleTask(void const * argument)
{

  for(;;)
  {
    osDelay(1);
  }
}

void HAL_TIM_PeriodElapsedCallback(TIM_HandleTypeDef *htim)
{
  if (htim->Instance == TIM7) {
    HAL_IncTick();
  }
}

void Error_Handler(void)
{
  /* USER CODE BEGIN Error_Handler_Debug */
  /* User can add his own implementation to report the HAL error return state */
	BSP_LED_On(LED2);
  /* USER CODE END Error_Handler_Debug */
}

/************************ (C) COPYRIGHT STMicroelectronics *****END OF FILE****/
